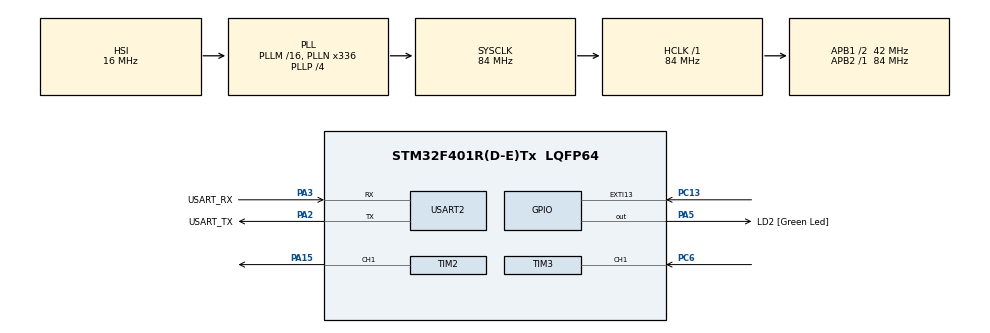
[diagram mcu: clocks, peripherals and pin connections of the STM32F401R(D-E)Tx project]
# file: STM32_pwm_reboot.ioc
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Mcu.Family=STM32F4
Mcu.Name=STM32F401R(D-E)Tx
Mcu.Package=LQFP64
NVIC.EXTI15_10_IRQn=true\:0\:0\:false\:false\:true\:true\:true\:true
NVIC.PriorityGroup=NVIC_PRIORITYGROUP_4
NVIC.TIM3_IRQn=true\:0\:0\:false\:false\:true\:true\:true\:true
NVIC.USART2_IRQn=true\:0\:0\:false\:false\:true\:true\:true\:true
PA13.GPIO_Label=TMS
PA13.Mode=Trace_Asynchronous_SW
PA13.Signal=SYS_JTMS-SWDIO
PA14.GPIO_Label=TCK
PA14.Mode=Trace_Asynchronous_SW
PA14.Signal=SYS_JTCK-SWCLK
PA15.Signal=S_TIM2_CH1_ETR
PA2.GPIO_Label=USART_TX
PA2.GPIO_Mode=GPIO_MODE_AF_PP
PA2.GPIO_PuPd=GPIO_NOPULL
PA2.GPIO_Speed=GPIO_SPEED_FREQ_LOW
PA2.Mode=Asynchronous
PA2.Signal=USART2_TX
PA3.GPIO_Label=USART_RX
PA3.GPIO_Mode=GPIO_MODE_AF_PP
PA3.GPIO_PuPd=GPIO_NOPULL
PA3.GPIO_Speed=GPIO_SPEED_FREQ_LOW
PA3.Mode=Asynchronous
PA3.Signal=USART2_RX
PA5.GPIO_Label=LD2 [Green Led]
PA5.GPIO_Mode=GPIO_MODE_OUTPUT_PP
PA5.GPIO_PuPd=GPIO_NOPULL
PA5.GPIO_Speed=GPIO_SPEED_FREQ_LOW
PA5.Signal=GPIO_Output
PB3.GPIO_Label=SWO
PB3.Mode=Trace_Asynchronous_SW
PB3.Signal=SYS_JTDO-SWO
PC13-ANTI_TAMP.Signal=GPXTI13
PC14-OSC32_IN.Mode=LSE-External-Oscillator
PC14-OSC32_IN.Signal=RCC_OSC32_IN
PC15-OSC32_OUT.Mode=LSE-External-Oscillator
PC15-OSC32_OUT.Signal=RCC_OSC32_OUT
PC6.Signal=S_TIM3_CH1
PH0\ -\ OSC_IN.Mode=HSE-External-Clock-Source
PH0\ -\ OSC_IN.Signal=RCC_OSC_IN
PH1\ -\ OSC_OUT.Mode=HSE-External-Clock-Source
PH1\ -\ OSC_OUT.Signal=RCC_OSC_OUT
ProjectManager.HeapSize=0x200
ProjectManager.StackSize=0x400
ProjectManager.TargetToolchain=STM32CubeIDE
RCC.48MHZClocksFreq_Value=48000000
RCC.AHBFreq_Value=84000000
RCC.APB1CLKDivider=RCC_HCLK_DIV2
RCC.APB1Freq_Value=42000000
RCC.APB1TimFreq_Value=84000000
RCC.APB2Freq_Value=84000000
RCC.APB2TimFreq_Value=84000000
RCC.CortexFreq_Value=84000000
RCC.HCLKFreq_Value=84000000
RCC.HSE_VALUE=8000000
RCC.HSI_VALUE=16000000
RCC.PLLN=336
RCC.PLLP=RCC_PLLP_DIV4
RCC.PLLQ=7
RCC.SYSCLKFreq_VALUE=84000000
RCC.SYSCLKSource=RCC_SYSCLKSOURCE_PLLCLK
RCC.VCOOutputFreq_Value=336000000
SH.S_TIM2_CH1_ETR.0=TIM2_CH1,PWM Generation1 CH1
SH.S_TIM3_CH1.0=TIM3_CH1,PWM_Input_1
TIM2.Channel-PWM\ Generation1\ CH1=TIM_CHANNEL_1
TIM2.Period=999
TIM2.Pulse-PWM\ Generation1\ CH1=500
USART2.VirtualMode=VM_ASYNC
VP_TIM2_VS_ClockSourceINT.Mode=Internal
VP_TIM3_VS_ClockSourceINT.Mode=Internal
board=NUCLEO-F401RE

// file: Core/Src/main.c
/* USER CODE BEGIN Header */
/**
  ******************************************************************************
  * @file           : main.c
  * @brief          : Main program body
  ******************************************************************************
  * @attention
  *
  * Copyright (c) 2026 STMicroelectronics.
  * All rights reserved.
  *
  * This software is licensed under terms that can be found in the LICENSE file
  * in the root directory of this software component.
  * If no LICENSE file comes with this software, it is provided AS-IS.
  *
  ******************************************************************************
  */
/* USER CODE END Header */
#include "main.h"

/* USER CODE BEGIN Includes */
#include "led.h"
#include "button.h"
#include <stdint.h>
#include "uart.h"
#include "pwm.h"
#include <stdio.h>
//#include "pwm.h"
/* USER CODE END Includes */

/* USER CODE BEGIN PD */

#define UART_COMMAND_MAX_CHARS 256
/* USER CODE END PD */

TIM_HandleTypeDef htim2;
TIM_HandleTypeDef htim3;

UART_HandleTypeDef huart2;

/* USER CODE BEGIN PV */

static uint32_t l_ticks;
/* USER CODE END PV */

void SystemClock_Config(void);
static void MX_GPIO_Init(void);
static void MX_USART2_UART_Init(void);
static void MX_TIM3_Init(void);
static void MX_TIM2_Init(void);

int main(void)
{

  /* MCU Configuration--------------------------------------------------------*/

  /* Reset of all peripherals, Initializes the Flash interface and the Systick. */
  HAL_Init();

  /* Configure the system clock */
  SystemClock_Config();

  /* Initialize all configured peripherals */
  MX_GPIO_Init();
  MX_USART2_UART_Init();
  MX_TIM3_Init();
  MX_TIM2_Init();
  /* USER CODE BEGIN 2 */
  l_ticks = HAL_GetTick();
  tim2_pwm_start_ch1();
  tim3_input_pwm_start_ch1_ch2();
  //set_duty_cycle(100);
  USART2->CR1 |= USART_CR1_RXNEIE;  // turn on recieve interrupts ( move to uart init? )
  const char *msg = "OK\r\n";
  push_uart_tx((uint8_t*)msg);
  set_duty_cycle(500);

  /* USER CODE END 2 */

  /* Infinite loop */
  /* USER CODE BEGIN WHILE */

  while (1) {
	  uint32_t now = HAL_GetTick();
	  if( (now - l_ticks) >= 100) {
		  l_ticks = now;
		  ButtonEvent btn_event = update_button(now);
		  update_led(btn_event,now);
		  uint32_t period;
		  uint32_t high;
		  //static uint32_t n = 0;
		  //&& (++n % 50 == 0)
		  if(consume_sample(&period,&high) ) {
			 char msg[64];
			 snprintf(msg, sizeof(msg), "period=%lu high=%lu\r\n",(unsigned long)period, (unsigned long)high);
			bool push = push_uart_tx((uint8_t*)msg);
			__NOP();
		  }
		  //uint8_t uart_rx_raw[UART_COMMAND_MAX_CHARS] = {"\0"};
		  //poll_uart_rx(uart_rx_raw,UART_COMMAND_MAX_CHARS);
		  //push_uart_tx(uart_rx_raw);
	  }

  }

    /* USER CODE END WHILE */

}

void SystemClock_Config(void)
{
  RCC_OscInitTypeDef RCC_OscInitStruct = {0};
  RCC_ClkInitTypeDef RCC_ClkInitStruct = {0};

  /** Configure the main internal regulator output voltage
  */
  __HAL_RCC_PWR_CLK_ENABLE();
  __HAL_PWR_VOLTAGESCALING_CONFIG(PWR_REGULATOR_VOLTAGE_SCALE2);

  /** Initializes the RCC Oscillators according to the specified parameters
  * in the RCC_OscInitTypeDef structure.
  */
  RCC_OscInitStruct.OscillatorType = RCC_OSCILLATORTYPE_HSI;
  RCC_OscInitStruct.HSIState = RCC_HSI_ON;
  RCC_OscInitStruct.HSICalibrationValue = RCC_HSICALIBRATION_DEFAULT;
  RCC_OscInitStruct.PLL.PLLState = RCC_PLL_ON;
  RCC_OscInitStruct.PLL.PLLSource = RCC_PLLSOURCE_HSI;
  RCC_OscInitStruct.PLL.PLLM = 16;
  RCC_OscInitStruct.PLL.PLLN = 336;
  RCC_OscInitStruct.PLL.PLLP = RCC_PLLP_DIV4;
  RCC_OscInitStruct.PLL.PLLQ = 7;
  if (HAL_RCC_OscConfig(&RCC_OscInitStruct) != HAL_OK)
  {
    Error_Handler();
  }

  /** Initializes the CPU, AHB and APB buses clocks
  */
  RCC_ClkInitStruct.ClockType = RCC_CLOCKTYPE_HCLK|RCC_CLOCKTYPE_SYSCLK
                              |RCC_CLOCKTYPE_PCLK1|RCC_CLOCKTYPE_PCLK2;
  RCC_ClkInitStruct.SYSCLKSource = RCC_SYSCLKSOURCE_PLLCLK;
  RCC_ClkInitStruct.AHBCLKDivider = RCC_SYSCLK_DIV1;
  RCC_ClkInitStruct.APB1CLKDivider = RCC_HCLK_DIV2;
  RCC_ClkInitStruct.APB2CLKDivider = RCC_HCLK_DIV1;

  if (HAL_RCC_ClockConfig(&RCC_ClkInitStruct, FLASH_LATENCY_2) != HAL_OK)
  {
    Error_Handler();
  }
}

static void MX_TIM2_Init(void)
{

  TIM_ClockConfigTypeDef sClockSourceConfig = {0};
  TIM_MasterConfigTypeDef sMasterConfig = {0};
  TIM_OC_InitTypeDef sConfigOC = {0};

  htim2.Instance = TIM2;
  htim2.Init.Prescaler = 0;
  htim2.Init.CounterMode = TIM_COUNTERMODE_UP;
  htim2.Init.Period = 999;
  htim2.Init.ClockDivision = TIM_CLOCKDIVISION_DIV1;
  htim2.Init.AutoReloadPreload = TIM_AUTORELOAD_PRELOAD_DISABLE;
  if (HAL_TIM_Base_Init(&htim2) != HAL_OK)
  {
    Error_Handler();
  }
  sClockSourceConfig.ClockSource = TIM_CLOCKSOURCE_INTERNAL;
  if (HAL_TIM_ConfigClockSource(&htim2, &sClockSourceConfig) != HAL_OK)
  {
    Error_Handler();
  }
  if (HAL_TIM_PWM_Init(&htim2) != HAL_OK)
  {
    Error_Handler();
  }
  sMasterConfig.MasterOutputTrigger = TIM_TRGO_RESET;
  sMasterConfig.MasterSlaveMode = TIM_MASTERSLAVEMODE_DISABLE;
  if (HAL_TIMEx_MasterConfigSynchronization(&htim2, &sMasterConfig) != HAL_OK)
  {
    Error_Handler();
  }
  sConfigOC.OCMode = TIM_OCMODE_PWM1;
  sConfigOC.Pulse = 500;
  sConfigOC.OCPolarity = TIM_OCPOLARITY_HIGH;
  sConfigOC.OCFastMode = TIM_OCFAST_DISABLE;
  if (HAL_TIM_PWM_ConfigChannel(&htim2, &sConfigOC, TIM_CHANNEL_1) != HAL_OK)
  {
    Error_Handler();
  }
  HAL_TIM_MspPostInit(&htim2);

}

static void MX_TIM3_Init(void)
{

  TIM_ClockConfigTypeDef sClockSourceConfig = {0};
  TIM_SlaveConfigTypeDef sSlaveConfig = {0};
  TIM_IC_InitTypeDef sConfigIC = {0};
  TIM_MasterConfigTypeDef sMasterConfig = {0};

  htim3.Instance = TIM3;
  htim3.Init.Prescaler = 0;
  htim3.Init.CounterMode = TIM_COUNTERMODE_UP;
  htim3.Init.Period = 65535;
  htim3.Init.ClockDivision = TIM_CLOCKDIVISION_DIV1;
  htim3.Init.AutoReloadPreload = TIM_AUTORELOAD_PRELOAD_DISABLE;
  if (HAL_TIM_Base_Init(&htim3) != HAL_OK)
  {
    Error_Handler();
  }
  sClockSourceConfig.ClockSource = TIM_CLOCKSOURCE_INTERNAL;
  if (HAL_TIM_ConfigClockSource(&htim3, &sClockSourceConfig) != HAL_OK)
  {
    Error_Handler();
  }
  if (HAL_TIM_IC_Init(&htim3) != HAL_OK)
  {
    Error_Handler();
  }
  sSlaveConfig.SlaveMode = TIM_SLAVEMODE_RESET;
  sSlaveConfig.InputTrigger = TIM_TS_TI1FP1;
  sSlaveConfig.TriggerPolarity = TIM_INPUTCHANNELPOLARITY_RISING;
  sSlaveConfig.TriggerPrescaler = TIM_ICPSC_DIV1;
  sSlaveConfig.TriggerFilter = 0;
  if (HAL_TIM_SlaveConfigSynchro(&htim3, &sSlaveConfig) != HAL_OK)
  {
    Error_Handler();
  }
  sConfigIC.ICPolarity = TIM_INPUTCHANNELPOLARITY_RISING;
  sConfigIC.ICSelection = TIM_ICSELECTION_DIRECTTI;
  sConfigIC.ICPrescaler = TIM_ICPSC_DIV1;
  sConfigIC.ICFilter = 0;
  if (HAL_TIM_IC_ConfigChannel(&htim3, &sConfigIC, TIM_CHANNEL_1) != HAL_OK)
  {
    Error_Handler();
  }
  sConfigIC.ICPolarity = TIM_INPUTCHANNELPOLARITY_FALLING;
  sConfigIC.ICSelection = TIM_ICSELECTION_INDIRECTTI;
  if (HAL_TIM_IC_ConfigChannel(&htim3, &sConfigIC, TIM_CHANNEL_2) != HAL_OK)
  {
    Error_Handler();
  }
  sMasterConfig.MasterOutputTrigger = TIM_TRGO_RESET;
  sMasterConfig.MasterSlaveMode = TIM_MASTERSLAVEMODE_DISABLE;
  if (HAL_TIMEx_MasterConfigSynchronization(&htim3, &sMasterConfig) != HAL_OK)
  {
    Error_Handler();
  }

}

static void MX_USART2_UART_Init(void)
{

  huart2.Instance = USART2;
  huart2.Init.BaudRate = 115200;
  huart2.Init.WordLength = UART_WORDLENGTH_8B;
  huart2.Init.StopBits = UART_STOPBITS_1;
  huart2.Init.Parity = UART_PARITY_NONE;
  huart2.Init.Mode = UART_MODE_TX_RX;
  huart2.Init.HwFlowCtl = UART_HWCONTROL_NONE;
  huart2.Init.OverSampling = UART_OVERSAMPLING_16;
  if (HAL_UART_Init(&huart2) != HAL_OK)
  {
    Error_Handler();
  }

}

static void MX_GPIO_Init(void)
{
  GPIO_InitTypeDef GPIO_InitStruct = {0};

  /* GPIO Ports Clock Enable */
  __HAL_RCC_GPIOC_CLK_ENABLE();
  __HAL_RCC_GPIOH_CLK_ENABLE();
  __HAL_RCC_GPIOA_CLK_ENABLE();
  __HAL_RCC_GPIOB_CLK_ENABLE();

  /*Configure GPIO pin Output Level */
  HAL_GPIO_WritePin(LD2_GPIO_Port, LD2_Pin, GPIO_PIN_RESET);

  /*Configure GPIO pin : PC13 */
  GPIO_InitStruct.Pin = GPIO_PIN_13;
  GPIO_InitStruct.Mode = GPIO_MODE_IT_RISING;
  GPIO_InitStruct.Pull = GPIO_NOPULL;
  HAL_GPIO_Init(GPIOC, &GPIO_InitStruct);

  /*Configure GPIO pin : LD2_Pin */
  GPIO_InitStruct.Pin = LD2_Pin;
  GPIO_InitStruct.Mode = GPIO_MODE_OUTPUT_PP;
  GPIO_InitStruct.Pull = GPIO_NOPULL;
  GPIO_InitStruct.Speed = GPIO_SPEED_FREQ_LOW;
  HAL_GPIO_Init(LD2_GPIO_Port, &GPIO_InitStruct);

  /* EXTI interrupt init*/
  HAL_NVIC_SetPriority(EXTI15_10_IRQn, 0, 0);
  HAL_NVIC_EnableIRQ(EXTI15_10_IRQn);

}

void Error_Handler(void)
{
  __disable_irq();
  while (1)
  {
  }
}
